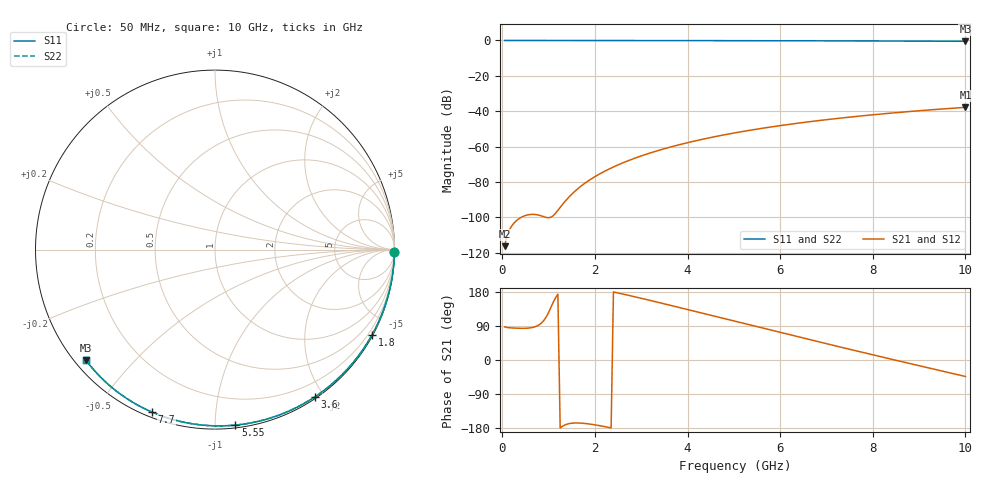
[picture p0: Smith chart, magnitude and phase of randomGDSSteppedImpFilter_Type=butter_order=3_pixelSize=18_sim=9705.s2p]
! freq	dB(S11)	phase(S11)	dB(S12)	phase(S12)
!  dB(S21)	phase(S21)	dB(S22)	phase(S22)
!S-par simulation data
#  GHz  S  DB  R 50
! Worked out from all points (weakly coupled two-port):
!   200 points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, 50 MHz to 10 GHz, reference 50 ohm
!   highest |S21| = -37.80 dB at 10 GHz (marker M1); lowest = -116.3 dB at 50 MHz (marker M2)
!   lowest |S11| = -0.5 dB at 10 GHz (marker M3), VSWR 36.79, Z = 1.55 - j18.5 ohm
!   |S11| at or under -10 dB: nowhere
!   |S22| runs from -0.5 to 0.0 dB; largest |S21 - S12| = 0
!   S11 on the Smith chart (normalised r, x): 50 MHz: open; 1.8 GHz: 0.03, -3.91; 3.6 GHz: 0.02, -1.88; 5.55 GHz: 0.02, -1.12; 7.7 GHz: 0.02, -0.68; 10 GHz: 0.03, -0.37
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0.05  -0.00 -0.8  -116.28 87.5  -116.28 87.5  -0.00 -0.8
0.45  -0.01 -7.3  -99.43 83.6  -99.43 83.6  -0.01 -7.3
0.9  -0.02 -14.5  -99.66 104.7  -99.66 104.7  -0.02 -14.5
1.75  -0.04 -27.9  -81.33 -167.0  -81.33 -167.0  -0.04 -27.9
1.8  -0.04 -28.7  -80.38 -167.7  -80.38 -167.7  -0.04 -28.7
1.85  -0.04 -29.4  -79.48 -168.4  -79.48 -168.4  -0.04 -29.4
2.05  -0.04 -32.5  -76.21 -172.1  -76.21 -172.1  -0.04 -32.5
2.2  -0.04 -34.9  -74.07 -175.5  -74.07 -175.5  -0.04 -34.9
2.55  -0.05 -40.2  -69.76 175.5  -69.76 175.5  -0.05 -40.2
2.95  -0.06 -46.3  -65.72 164.3  -65.72 164.3  -0.06 -46.3
3.4  -0.07 -53.0  -61.94 151.1  -61.94 151.1  -0.07 -53.0
3.6  -0.08 -55.9  -60.45 145.2  -60.45 145.2  -0.08 -55.9
3.9  -0.08 -60.3  -58.41 136.1  -58.41 136.1  -0.08 -60.3
4.3  -0.09 -66.1  -55.98 124.1  -55.98 124.1  -0.09 -66.1
5.05  -0.12 -76.6  -52.10 101.3  -52.10 101.3  -0.12 -76.6
5.55  -0.14 -83.4  -49.90 86.2  -49.90 86.2  -0.14 -83.4
6.1  -0.16 -90.7  -47.76 69.7  -47.76 69.7  -0.16 -90.7
6.7  -0.19 -98.6  -45.71 51.8  -45.71 51.8  -0.19 -98.6
7.7  -0.26 -111.3  -42.79 22.4  -42.79 22.4  -0.26 -111.3
8.35  -0.31 -119.3  -41.17 3.6  -41.17 3.6  -0.31 -119.3
9.2  -0.38 -129.7  -39.31 -20.8  -39.31 -20.8  -0.38 -129.7
10  -0.47 -139.4  -37.80 -43.5  -37.80 -43.5  -0.47 -139.4
